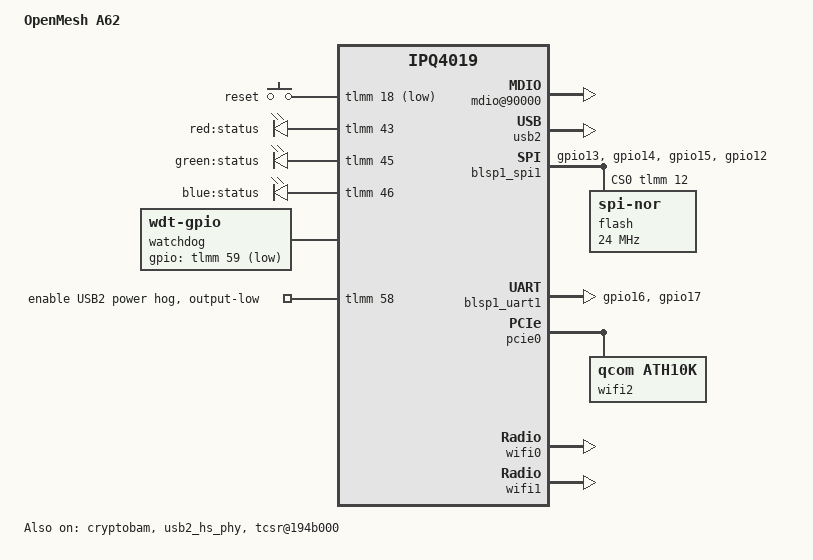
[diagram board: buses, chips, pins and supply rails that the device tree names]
// SPDX-License-Identifier: ISC
/* Copyright (c) 2015, The Linux Foundation. All rights reserved.
 * Copyright (c) 2017-2018, Sven Eckelmann <sven.eckelmann@openmesh.com>
 */

#include "qcom-ipq4019.dtsi"
#include <dt-bindings/gpio/gpio.h>
#include <dt-bindings/input/input.h>
#include <dt-bindings/soc/qcom,tcsr.h>

/ {
	model = "OpenMesh A62";
	compatible = "openmesh,a62";

	soc {
		rng@22000 {
			status = "okay";
		};

		mdio@90000 {
			status = "okay";
		};

		ess-psgmii@98000 {
			status = "okay";
		};

		tcsr@194b000 {
			/* select hostmode */
			compatible = "qcom,tcsr";
			reg = <0x194b000 0x100>;
			qcom,usb-hsphy-mode-select = <TCSR_USB_HSPHY_HOST_MODE>;
			status = "okay";
		};

		tcsr@1949000 {
			compatible = "qcom,tcsr";
			reg = <0x1949000 0x100>;
			qcom,wifi_glb_cfg = <TCSR_WIFI_GLB_CFG>;
		};

		ess_tcsr@1953000 {
			compatible = "qcom,tcsr";
			reg = <0x1953000 0x1000>;
			qcom,ess-interface-select = <TCSR_ESS_PSGMII>;
		};

		tcsr@1957000 {
			compatible = "qcom,tcsr";
			reg = <0x1957000 0x100>;
			qcom,wifi_noc_memtype_m0_m2 = <TCSR_WIFI_NOC_MEMTYPE_M0_M2>;
		};

		usb2: usb2@60f8800 {
			status = "okay";
		};

		crypto@8e3a000 {
			status = "okay";
		};

		watchdog@b017000 {
			status = "okay";
		};

		ess-switch@c000000 {
			switch_lan_bmp = <0x10>;
			switch_wan_bmp = <0x20>;

			status = "okay";
		};

		edma@c080000 {
			status = "okay";
		};
	};

	keys {
		compatible = "gpio-keys";

		reset {
			label = "reset";
			gpios = <&tlmm 18 GPIO_ACTIVE_LOW>;
			linux,code = <KEY_RESTART >;
		};
	};

	aliases {
		led-boot = &led_status_green;
		led-failsafe = &led_status_green;
		led-running = &led_status_green;
		led-upgrade = &led_status_green;
	};

	leds {
		compatible = "gpio-leds";

		status_red {
			label = "red:status";
			gpios = <&tlmm 43 GPIO_ACTIVE_HIGH>;
		};

		led_status_green: status_green {
			label = "green:status";
			gpios = <&tlmm 45 GPIO_ACTIVE_HIGH>;
		};

		status_blue {
			label = "blue:status";
			gpios = <&tlmm 46 GPIO_ACTIVE_HIGH>;
		};
	};

	watchdog {
		compatible = "linux,wdt-gpio";
		gpios = <&tlmm 59 GPIO_ACTIVE_LOW>;
		hw_algo = "toggle";
		/* hw_margin_ms is actually 300s but driver limits it to 60s */
		hw_margin_ms = <60000>;
		always-running;
	};
};

&tlmm {
	serial_pins: serial_pinmux {
		mux {
			pins = "gpio16", "gpio17";
			function = "blsp_uart0";
			bias-disable;
		};
	};

	spi_0_pins: spi_0_pinmux {
		pin {
			function = "blsp_spi0";
			pins = "gpio13", "gpio14", "gpio15";
			drive-strength = <12>;
			bias-disable;
		};
		pin_cs {
			function = "gpio";
			pins = "gpio12";
			drive-strength = <2>;
			bias-disable;
			output-high;
		};
	};

	enable-usb-power {
		gpio-hog;
		gpios = <58 GPIO_ACTIVE_HIGH>;
		output-low;
		line-name = "enable USB2 power";
	};
};

&blsp_dma {
	status = "okay";
};

&blsp1_spi1 {
	pinctrl-0 = <&spi_0_pins>;
	pinctrl-names = "default";
	status = "okay";
	cs-gpios = <&tlmm 12 GPIO_ACTIVE_HIGH>;

	flash@0 {
		#address-cells = <1>;
		#size-cells = <1>;
		compatible = "jedec,spi-nor";
		reg = <0>;
		spi-max-frequency = <24000000>;
		/* partitions are passed via bootloader */
	};
};

&blsp1_uart1 {
	pinctrl-0 = <&serial_pins>;
	pinctrl-names = "default";
	status = "okay";
};

&cryptobam {
	status = "okay";
};

&gmac0 {
	qcom,phy_mdio_addr = <3>;
	qcom,poll_required = <1>;
	qcom,forced_speed = <1000>;
	qcom,forced_duplex = <1>;
	vlan_tag = <1 0x10>;
};

&usb2_hs_phy {
	status = "okay";
};

&pcie0 {
	status = "okay";
	perst-gpio = <&tlmm 38 GPIO_ACTIVE_LOW>;
	wake-gpio = <&tlmm 50 GPIO_ACTIVE_LOW>;

	bridge@0,0 {
		reg = <0x00000000 0 0 0 0>;
		#address-cells = <3>;
		#size-cells = <2>;
		ranges;

		wifi2: wifi@1,0 {
			compatible = "qcom,ath10k";
			status = "okay";
			reg = <0x00010000 0 0 0 0>;
			qcom,ath10k-calibration-variant = "OM-A62";
			ieee80211-freq-limit = <5170000 5350000>;
		};
	};
};

&wifi0 {
	status = "okay";
	qcom,ath10k-calibration-variant = "OM-A62";
};

&wifi1 {
	status = "okay";
	qcom,ath10k-calibration-variant = "OM-A62";
	ieee80211-freq-limit = <5470000 5875000>;
};
